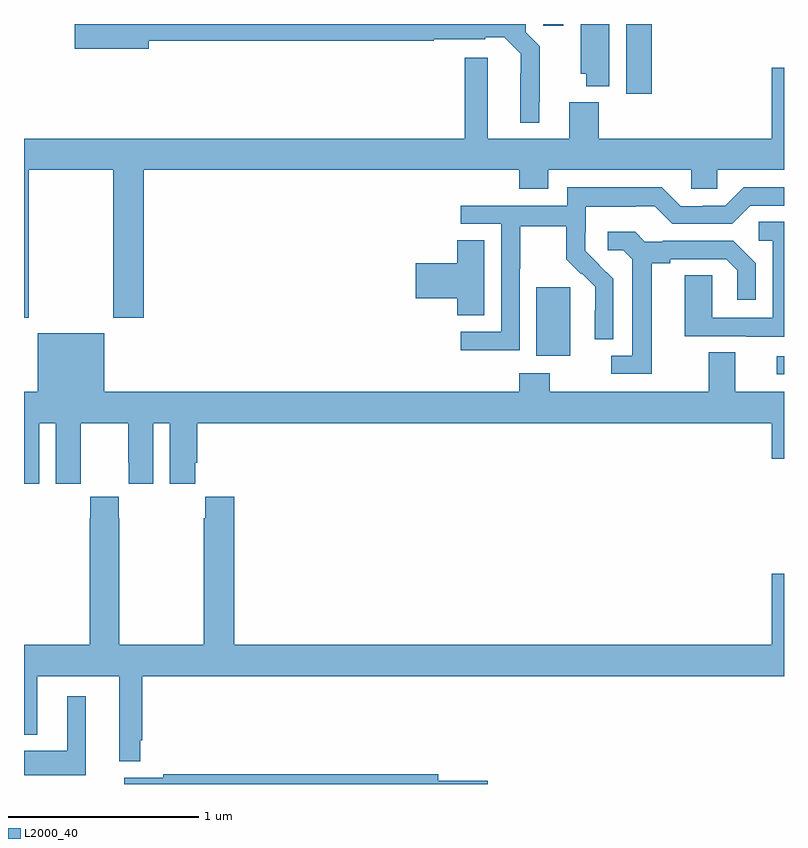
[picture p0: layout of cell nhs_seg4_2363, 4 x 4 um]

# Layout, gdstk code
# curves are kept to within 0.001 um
import gdstk
lib = gdstk.Library(unit=1e-6, precision=1e-09)
def R(c, l, rs):  # rectangles x0, y0, x1, y1
    for r in rs: c.add(gdstk.rectangle(r[:2], r[2:], *l))
def P(c, l, *ps):  # polygons
    for p in ps: c.add(gdstk.Polygon(p, *l))
L2000_40 = (2000, 40)

nhs_seg4_2363 = lib.new_cell('nhs_seg4_2363')
R(nhs_seg4_2363, L2000_40, [(236.961,817.056,237,817.152), (235.697,817.154,235.876,817.515), (236.171,818.532,236.303,818.9), (235.733,818.892,235.837,818.9)])
P(nhs_seg4_2363, L2000_40, [(236.08,818.9),(235.931,818.9),(235.931,818.637),(235.958,818.637),(235.958,818.573),(236.08,818.573)],
  [(235.711,818.491),(235.715,818.491),(235.715,818.782),(235.641,818.856),(235.641,818.9),(233.268,818.9),(233.268,818.77),(233.656,818.77),(233.656,818.812),(235.156,818.812),(235.156,818.819),(235.428,818.819),(235.428,818.831),(235.527,818.831),(235.614,818.744),(235.613,818.381),(235.711,818.381)],
  [(233.025,818.132),(233.47,818.132),(233.47,817.353),(233.63,817.353),(233.63,818.132),(235.607,818.132),(235.607,818.033),(235.759,818.033),(235.759,818.132),(236.511,818.132),(236.511,818.034),(236.649,818.034),(236.649,818.132),(237,818.132),(237,818.671),(236.936,818.671),(236.936,818.296),(236.024,818.296),(236.024,818.488),(235.871,818.488),(235.871,818.296),(235.441,818.296),(235.441,818.722),(235.319,818.722),(235.319,818.296),(233,818.296),(233,817.353),(233.025,817.353)],
  [(235.608,817.612),(235.611,817.612),(235.611,817.836),(235.855,817.836),(235.855,817.661),(235.932,817.584),(235.935,817.587),(236.006,817.517),(236.006,817.394),(236.004,817.394),(236.004,817.24),(236.1,817.24),(236.1,817.558),(235.954,817.706),(235.954,817.803),(235.956,817.803),(235.956,817.937),(236.219,817.937),(236.219,817.941),(236.319,817.941),(236.412,817.848),(236.727,817.848),(236.823,817.944),(237,817.944),(237,818.04),(236.787,818.04),(236.691,817.944),(236.573,817.944),(236.573,817.941),(236.457,817.941),(236.357,818.041),(235.86,818.041),(235.86,817.944),(235.299,817.944),(235.299,817.848),(235.512,817.848),(235.512,817.281),(235.299,817.281),(235.299,817.183),(235.608,817.183)],
  [(237,817.859),(236.868,817.859),(236.868,817.758),(236.94,817.758),(236.94,817.353),(236.622,817.353),(236.622,817.577),(236.477,817.577),(236.477,817.257),(236.801,817.257),(236.801,817.253),(237,817.253)],
  [(236.305,817.64),(236.401,817.64),(236.401,817.662),(236.696,817.662),(236.753,817.605),(236.753,817.449),(236.85,817.449),(236.85,817.642),(236.734,817.758),(236.362,817.758),(236.362,817.755),(236.268,817.755),(236.216,817.807),(236.073,817.807),(236.073,817.71),(236.154,817.71),(236.201,817.663),(236.201,817.155),(236.091,817.155),(236.091,817.059),(236.305,817.059)],
  [(235.423,817.763),(235.28,817.763),(235.28,817.64),(235.062,817.64),(235.062,817.457),(235.28,817.457),(235.28,817.366),(235.423,817.366)],
  [(233.08,816.8),(233.168,816.8),(233.168,816.48),(233.298,816.48),(233.298,816.592),(233.299,816.592),(233.299,816.8),(233.549,816.8),(233.549,816.592),(233.55,816.592),(233.55,816.48),(233.68,816.48),(233.68,816.8),(233.768,816.8),(233.768,816.48),(233.902,816.48),(233.902,816.592),(233.912,816.592),(233.912,816.8),(236.936,816.8),(236.936,816.612),(237,816.612),(237,816.964),(236.743,816.964),(236.743,817.172),(236.603,817.172),(236.603,816.964),(235.767,816.964),(235.767,817.063),(235.607,817.063),(235.607,816.964),(233.422,816.964),(233.422,817.273),(233.072,817.273),(233.072,816.964),(233,816.964),(233,816.48),(233.08,816.48)],
  [(233.612,815.131),(233.623,815.131),(233.623,815.468),(237,815.468),(237,816.007),(236.936,816.007),(236.936,815.632),(234.107,815.632),(234.107,816.412),(233.953,816.412),(233.953,816.299),(233.947,816.299),(233.947,815.632),(233.502,815.632),(233.502,816.299),(233.499,816.299),(233.499,816.412),(233.349,816.412),(233.349,816.299),(233.347,816.299),(233.347,815.632),(233,815.632),(233,815.159),(233.071,815.159),(233.071,815.468),(233.501,815.468),(233.501,815.019),(233.612,815.019)],
  [(233.326,815.362),(233.228,815.362),(233.228,815.074),(233,815.074),(233,814.946),(233.326,814.946)],
  [(235.441,814.916),(235.18,814.916),(235.18,814.952),(233.734,814.952),(233.734,814.932),(233.528,814.932),(233.528,814.9),(235.441,814.9)])

lib.write_gds('nhs_seg4_2363.gds')
